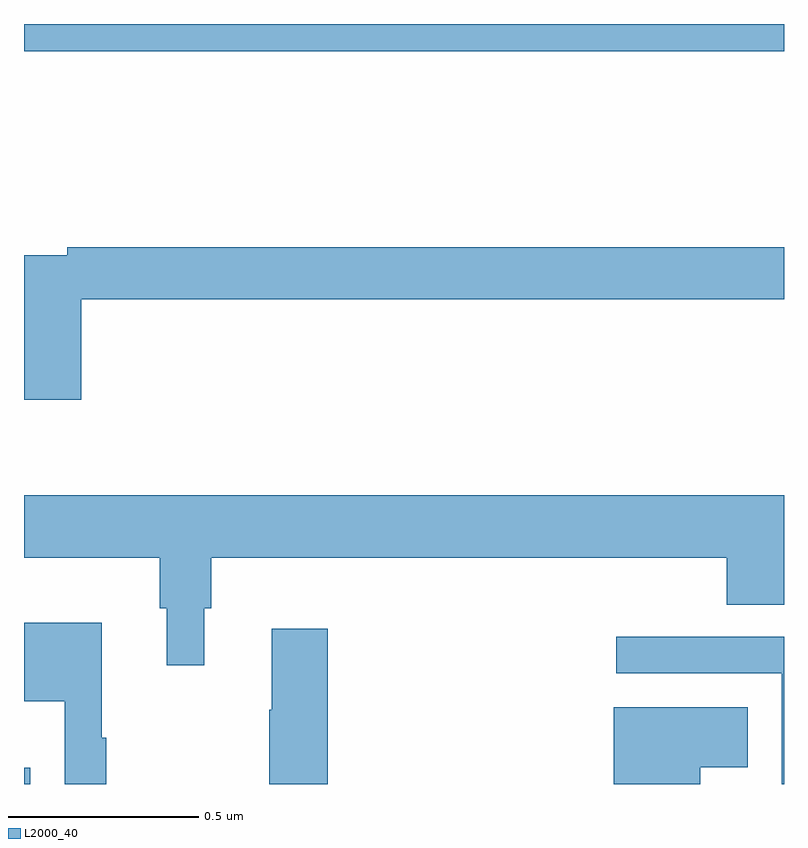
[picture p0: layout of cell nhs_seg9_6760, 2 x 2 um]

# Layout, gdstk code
import gdstk
lib = gdstk.Library(unit=1e-6, precision=1e-09)
def R(c, l, rs):  # rectangles x0, y0, x1, y1
    for r in rs: c.add(gdstk.rectangle(r[:2], r[2:], *l))
def P(c, l, *ps):  # polygons
    for p in ps: c.add(gdstk.Polygon(p, *l))
L2000_40 = (2000, 40)

nhs_seg9_6760 = lib.new_cell('nhs_seg9_6760')
R(nhs_seg9_6760, L2000_40, [(196,1186.5,196.017,1186.543), (196,1188.428,198,1188.5)])
P(nhs_seg9_6760, L2000_40, [(196.151,1187.776),(198,1187.776),(198,1187.912),(196.114,1187.912),(196.114,1187.892),(196,1187.892),(196,1187.511),(196.151,1187.511)],
  [(196.474,1186.962),(196.493,1186.962),(196.493,1187.096),(197.849,1187.096),(197.849,1186.972),(198,1186.972),(198,1187.26),(196,1187.26),(196,1187.096),(196.357,1187.096),(196.357,1186.962),(196.376,1186.962),(196.376,1186.812),(196.474,1186.812)],
  [(196.216,1186.622),(196.204,1186.622),(196.204,1186.924),(196,1186.924),(196,1186.718),(196.107,1186.718),(196.107,1186.5),(196.216,1186.5)],
  [(196.799,1186.909),(196.652,1186.909),(196.652,1186.696),(196.645,1186.696),(196.645,1186.5),(196.799,1186.5)],
  [(198,1186.887),(197.559,1186.887),(197.559,1186.791),(197.994,1186.791),(197.994,1186.5),(198,1186.5)],
  [(197.779,1186.544),(197.905,1186.544),(197.905,1186.702),(197.552,1186.702),(197.552,1186.5),(197.779,1186.5)])

lib.write_gds('nhs_seg9_6760.gds')
